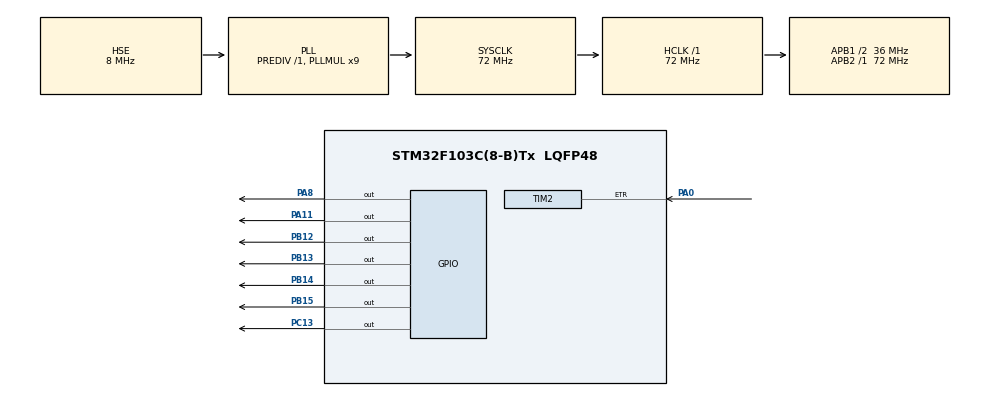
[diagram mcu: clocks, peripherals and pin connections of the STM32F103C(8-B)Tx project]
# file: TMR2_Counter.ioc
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Mcu.Family=STM32F1
Mcu.Name=STM32F103C(8-B)Tx
Mcu.Package=LQFP48
NVIC.PriorityGroup=NVIC_PRIORITYGROUP_4
NVIC.TIM2_IRQn=true\:0\:0\:false\:false\:true\:true\:true\:true
PA0-WKUP.Signal=S_TIM2_CH1_ETR
PA11.Signal=GPIO_Output
PA13.Mode=Serial_Wire
PA13.Signal=SYS_JTMS-SWDIO
PA14.Mode=Serial_Wire
PA14.Signal=SYS_JTCK-SWCLK
PA8.Signal=GPIO_Output
PB12.Signal=GPIO_Output
PB13.Signal=GPIO_Output
PB14.Signal=GPIO_Output
PB15.Signal=GPIO_Output
PC13-TAMPER-RTC.Signal=GPIO_Output
PD0-OSC_IN.Mode=HSE-External-Oscillator
PD0-OSC_IN.Signal=RCC_OSC_IN
PD1-OSC_OUT.Mode=HSE-External-Oscillator
PD1-OSC_OUT.Signal=RCC_OSC_OUT
ProjectManager.HeapSize=0x200
ProjectManager.StackSize=0x400
ProjectManager.TargetToolchain=STM32CubeIDE
RCC.AHBFreq_Value=72000000
RCC.APB1CLKDivider=RCC_HCLK_DIV2
RCC.APB1Freq_Value=36000000
RCC.APB1TimFreq_Value=72000000
RCC.APB2Freq_Value=72000000
RCC.APB2TimFreq_Value=72000000
RCC.HCLKFreq_Value=72000000
RCC.PLLMUL=RCC_PLL_MUL9
RCC.PLLSourceVirtual=RCC_PLLSOURCE_HSE
RCC.SYSCLKFreq_VALUE=72000000
RCC.SYSCLKSource=RCC_SYSCLKSOURCE_PLLCLK
RCC.USBFreq_Value=72000000
SH.S_TIM2_CH1_ETR.0=TIM2_ETR,ClockSourceETR_Mode2
TIM2.AutoReloadPreload=TIM_AUTORELOAD_PRELOAD_ENABLE
TIM2.ClockFilter=15
TIM2.ClockPolarity=TIM_CLOCKPOLARITY_INVERTED
TIM2.Period=20
board=custom

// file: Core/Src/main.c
/* USER CODE BEGIN Header */
/**
  ******************************************************************************
  * @file           : main.c
  * @brief          : Main program body
  ******************************************************************************
  * @attention
  *
  * Copyright (c) 2024 STMicroelectronics.
  * All rights reserved.
  *
  * This software is licensed under terms that can be found in the LICENSE file
  * in the root directory of this software component.
  * If no LICENSE file comes with this software, it is provided AS-IS.
  *
  ******************************************************************************
  */
/* USER CODE END Header */
#include "main.h"

/* USER CODE BEGIN Includes */

#include <stdio.h>
#include "LCD1602_4Bits.h"

/* USER CODE END Includes */

TIM_HandleTypeDef htim2;

/* USER CODE BEGIN PV */

char bufferLCD[16];

/* USER CODE END PV */

void SystemClock_Config(void);
static void MX_GPIO_Init(void);
static void MX_TIM2_Init(void);

/* USER CODE BEGIN 0 */

void HAL_TIM_PeriodElapsedCallback(TIM_HandleTypeDef* htim)
{
	HAL_GPIO_TogglePin(GPIOC, GPIO_PIN_13);
}

/* USER CODE END 0 */

int main(void)
{

  /* USER CODE BEGIN 1 */

	uint16_t CounterTicks = 0;

  /* USER CODE END 1 */

  /* MCU Configuration--------------------------------------------------------*/

  /* Reset of all peripherals, Initializes the Flash interface and the Systick. */
  HAL_Init();

  /* Configure the system clock */
  SystemClock_Config();

  /* Initialize all configured peripherals */
  MX_GPIO_Init();
  MX_TIM2_Init();
  /* USER CODE BEGIN 2 */

  HAL_TIM_Base_Start_IT(&htim2);

  lcd_init();
  lcd_put_cur(0, 4);
  lcd_send_string("CONTAGEM");
  lcd_put_cur(1, 6);
  lcd_send_string("0000");

  /* USER CODE END 2 */

  /* Infinite loop */
  /* USER CODE BEGIN WHILE */
  while (1)
  {
	  // Faz a leitura do registrador de contagem do Timer2
	  CounterTicks = TIM2->CNT;

	  sprintf(bufferLCD, "%04d", CounterTicks);

	  lcd_put_cur(1, 6);
	  lcd_send_string(bufferLCD);

	  HAL_Delay(100);
    /* USER CODE END WHILE */

  }
}

void SystemClock_Config(void)
{
  RCC_OscInitTypeDef RCC_OscInitStruct = {0};
  RCC_ClkInitTypeDef RCC_ClkInitStruct = {0};

  /** Initializes the RCC Oscillators according to the specified parameters
  * in the RCC_OscInitTypeDef structure.
  */
  RCC_OscInitStruct.OscillatorType = RCC_OSCILLATORTYPE_HSE;
  RCC_OscInitStruct.HSEState = RCC_HSE_ON;
  RCC_OscInitStruct.HSEPredivValue = RCC_HSE_PREDIV_DIV1;
  RCC_OscInitStruct.HSIState = RCC_HSI_ON;
  RCC_OscInitStruct.PLL.PLLState = RCC_PLL_ON;
  RCC_OscInitStruct.PLL.PLLSource = RCC_PLLSOURCE_HSE;
  RCC_OscInitStruct.PLL.PLLMUL = RCC_PLL_MUL9;
  if (HAL_RCC_OscConfig(&RCC_OscInitStruct) != HAL_OK)
  {
    Error_Handler();
  }

  /** Initializes the CPU, AHB and APB buses clocks
  */
  RCC_ClkInitStruct.ClockType = RCC_CLOCKTYPE_HCLK|RCC_CLOCKTYPE_SYSCLK
                              |RCC_CLOCKTYPE_PCLK1|RCC_CLOCKTYPE_PCLK2;
  RCC_ClkInitStruct.SYSCLKSource = RCC_SYSCLKSOURCE_PLLCLK;
  RCC_ClkInitStruct.AHBCLKDivider = RCC_SYSCLK_DIV1;
  RCC_ClkInitStruct.APB1CLKDivider = RCC_HCLK_DIV2;
  RCC_ClkInitStruct.APB2CLKDivider = RCC_HCLK_DIV1;

  if (HAL_RCC_ClockConfig(&RCC_ClkInitStruct, FLASH_LATENCY_2) != HAL_OK)
  {
    Error_Handler();
  }
}

static void MX_TIM2_Init(void)
{

  TIM_ClockConfigTypeDef sClockSourceConfig = {0};
  TIM_MasterConfigTypeDef sMasterConfig = {0};

  htim2.Instance = TIM2;
  htim2.Init.Prescaler = 0;
  htim2.Init.CounterMode = TIM_COUNTERMODE_UP;
  htim2.Init.Period = 20;
  htim2.Init.ClockDivision = TIM_CLOCKDIVISION_DIV1;
  htim2.Init.AutoReloadPreload = TIM_AUTORELOAD_PRELOAD_ENABLE;
  if (HAL_TIM_Base_Init(&htim2) != HAL_OK)
  {
    Error_Handler();
  }
  sClockSourceConfig.ClockSource = TIM_CLOCKSOURCE_ETRMODE2;
  sClockSourceConfig.ClockPolarity = TIM_CLOCKPOLARITY_INVERTED;
  sClockSourceConfig.ClockPrescaler = TIM_CLOCKPRESCALER_DIV1;
  sClockSourceConfig.ClockFilter = 15;
  if (HAL_TIM_ConfigClockSource(&htim2, &sClockSourceConfig) != HAL_OK)
  {
    Error_Handler();
  }
  sMasterConfig.MasterOutputTrigger = TIM_TRGO_RESET;
  sMasterConfig.MasterSlaveMode = TIM_MASTERSLAVEMODE_DISABLE;
  if (HAL_TIMEx_MasterConfigSynchronization(&htim2, &sMasterConfig) != HAL_OK)
  {
    Error_Handler();
  }

}

static void MX_GPIO_Init(void)
{
  GPIO_InitTypeDef GPIO_InitStruct = {0};

  /* GPIO Ports Clock Enable */
  __HAL_RCC_GPIOC_CLK_ENABLE();
  __HAL_RCC_GPIOD_CLK_ENABLE();
  __HAL_RCC_GPIOA_CLK_ENABLE();
  __HAL_RCC_GPIOB_CLK_ENABLE();

  /*Configure GPIO pin Output Level */
  HAL_GPIO_WritePin(GPIOC, GPIO_PIN_13, GPIO_PIN_RESET);

  /*Configure GPIO pin Output Level */
  HAL_GPIO_WritePin(GPIOB, GPIO_PIN_12|GPIO_PIN_13|GPIO_PIN_14|GPIO_PIN_15, GPIO_PIN_RESET);

  /*Configure GPIO pin Output Level */
  HAL_GPIO_WritePin(GPIOA, GPIO_PIN_8|GPIO_PIN_11, GPIO_PIN_RESET);

  /*Configure GPIO pin : PC13 */
  GPIO_InitStruct.Pin = GPIO_PIN_13;
  GPIO_InitStruct.Mode = GPIO_MODE_OUTPUT_PP;
  GPIO_InitStruct.Pull = GPIO_NOPULL;
  GPIO_InitStruct.Speed = GPIO_SPEED_FREQ_LOW;
  HAL_GPIO_Init(GPIOC, &GPIO_InitStruct);

  /*Configure GPIO pins : PB12 PB13 PB14 PB15 */
  GPIO_InitStruct.Pin = GPIO_PIN_12|GPIO_PIN_13|GPIO_PIN_14|GPIO_PIN_15;
  GPIO_InitStruct.Mode = GPIO_MODE_OUTPUT_PP;
  GPIO_InitStruct.Pull = GPIO_NOPULL;
  GPIO_InitStruct.Speed = GPIO_SPEED_FREQ_LOW;
  HAL_GPIO_Init(GPIOB, &GPIO_InitStruct);

  /*Configure GPIO pins : PA8 PA11 */
  GPIO_InitStruct.Pin = GPIO_PIN_8|GPIO_PIN_11;
  GPIO_InitStruct.Mode = GPIO_MODE_OUTPUT_PP;
  GPIO_InitStruct.Pull = GPIO_NOPULL;
  GPIO_InitStruct.Speed = GPIO_SPEED_FREQ_LOW;
  HAL_GPIO_Init(GPIOA, &GPIO_InitStruct);

}

void Error_Handler(void)
{
  __disable_irq();
  while (1)
  {
  }
}
